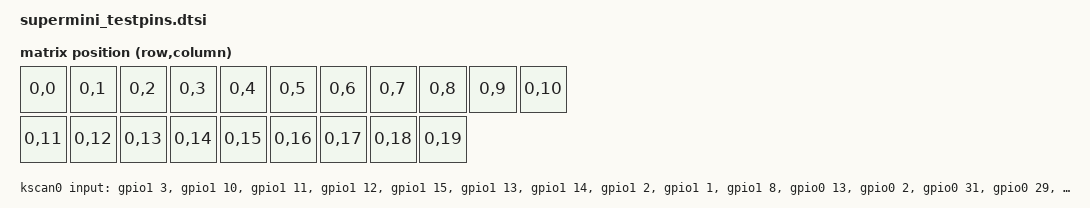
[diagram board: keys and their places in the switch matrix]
/*
 * Copyright (c) 2020 The ZMK Contributors
 *
 * SPDX-License-Identifier: MIT
 */

#include <dt-bindings/zmk/matrix_transform.h>

/ {

	chosen {
		zmk,kscan = &kscan0;
		zmk,matrix_transform = &default_transform;
	};

	default_transform: keymap_transform_0 {
		compatible = "zmk,matrix-transform";
		columns = <20>;
		rows = <1>;
		map = <
		        RC(0,0)  RC(0,1)  RC(0,2) RC(0,3)  RC(0,4)  RC(0,5)  RC(0,6) RC(0,7)  RC(0,8)  RC(0,9) RC(0,10)
				RC(0,11) RC(0,12) RC(0,13) RC(0,14) RC(0,15) RC(0,16) RC(0,17) RC(0,18) RC(0,19)
		>;
	};

	kscan0: kscan {
		compatible = "zmk,kscan-gpio-direct";
		label = "KSCAN";
		input-gpios
		= <&gpio1  3  (GPIO_ACTIVE_LOW | GPIO_PULL_UP)>
		, <&gpio1 10  (GPIO_ACTIVE_LOW | GPIO_PULL_UP)>
		, <&gpio1 11  (GPIO_ACTIVE_LOW | GPIO_PULL_UP)>
		, <&gpio1 12  (GPIO_ACTIVE_LOW | GPIO_PULL_UP)>
		, <&gpio1 15  (GPIO_ACTIVE_LOW | GPIO_PULL_UP)>
		, <&gpio1 13  (GPIO_ACTIVE_LOW | GPIO_PULL_UP)>
		, <&gpio1 14  (GPIO_ACTIVE_LOW | GPIO_PULL_UP)>
		, <&gpio1  2  (GPIO_ACTIVE_LOW | GPIO_PULL_UP)>
		, <&gpio1  1  (GPIO_ACTIVE_LOW | GPIO_PULL_UP)>
		, <&gpio1  8  (GPIO_ACTIVE_LOW | GPIO_PULL_UP)>
		, <&gpio0 13  (GPIO_ACTIVE_LOW | GPIO_PULL_UP)>

		, <&gpio0  2  (GPIO_ACTIVE_LOW | GPIO_PULL_UP)>
		, <&gpio0 31  (GPIO_ACTIVE_LOW | GPIO_PULL_UP)>
		, <&gpio0 29  (GPIO_ACTIVE_LOW | GPIO_PULL_UP)>
		, <&gpio0 30  (GPIO_ACTIVE_LOW | GPIO_PULL_UP)>
		, <&gpio0  5  (GPIO_ACTIVE_LOW | GPIO_PULL_UP)>
		, <&gpio0  4  (GPIO_ACTIVE_LOW | GPIO_PULL_UP)>

		, <&gpio0 27  (GPIO_ACTIVE_LOW | GPIO_PULL_UP)>
		, <&gpio0 23  (GPIO_ACTIVE_LOW | GPIO_PULL_UP)>
		, <&gpio0 21  (GPIO_ACTIVE_LOW | GPIO_PULL_UP)>

		;
	};

};
